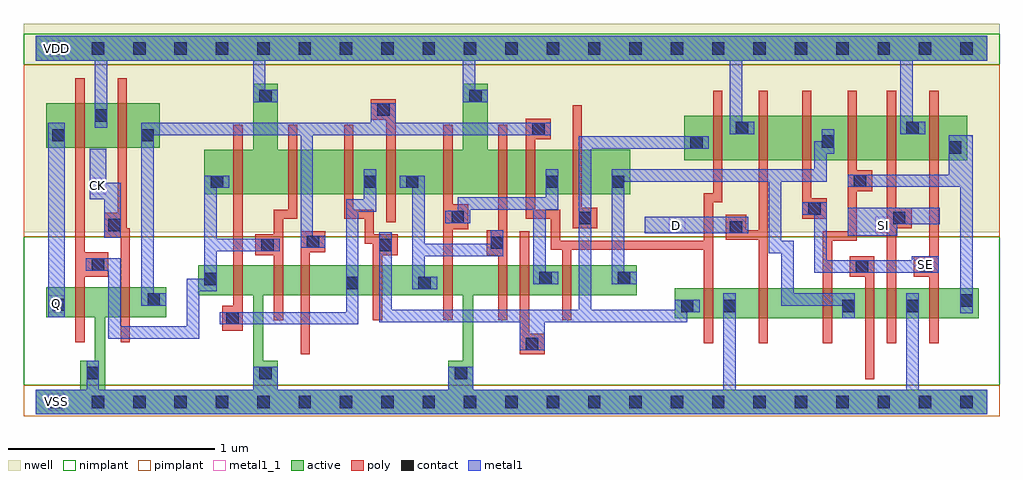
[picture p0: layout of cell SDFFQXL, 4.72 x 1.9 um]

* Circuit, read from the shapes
.subckt SDFFQXL CK D Q SE SI VDD VSS
M1 VSS n1 Q VSS nfet w=0.145u l=0.045u
M2 n2 CK VSS VSS nfet w=0.145u l=0.045u
M3 VSS n3 n1 VSS nfet w=0.145u l=0.045u
M4 n4 n1 VSS VSS nfet w=0.145u l=0.045u
M5 n3 n2 n4 VSS nfet w=0.145u l=0.045u
M6 n5 n6 n3 VSS nfet w=0.145u l=0.045u
M7 VSS n7 n5 VSS nfet w=0.145u l=0.045u
M8 n8 n5 VSS VSS nfet w=0.145u l=0.045u
M9 n7 n6 n8 VSS nfet w=0.145u l=0.045u
M10 n9 n2 n7 VSS nfet w=0.145u l=0.045u
M11 VSS n2 n6 VSS nfet w=0.145u l=0.045u
M12 n10 D VSS VSS nfet w=0.145u l=0.045u
M13 n9 n11 n10 VSS nfet w=0.145u l=0.045u
M14 n12 SE n9 VSS nfet w=0.145u l=0.045u
M15 VSS SI n12 VSS nfet w=0.145u l=0.045u
M16 n11 SE VSS VSS nfet w=0.145u l=0.045u
M17 VDD n1 Q VDD pfet w=0.215u l=0.045u
M18 n2 CK VDD VDD pfet w=0.215u l=0.045u
M19 VDD n3 n1 VDD pfet w=0.215u l=0.045u
M20 n13 n1 VDD VDD pfet w=0.215u l=0.045u
M21 n3 n6 n13 VDD pfet w=0.215u l=0.045u
M22 n5 n2 n3 VDD pfet w=0.215u l=0.045u
M23 VDD n7 n5 VDD pfet w=0.215u l=0.045u
M24 n14 n5 VDD VDD pfet w=0.215u l=0.045u
M25 n7 n2 n14 VDD pfet w=0.215u l=0.045u
M26 n9 n6 n7 VDD pfet w=0.215u l=0.045u
M27 VDD n2 n6 VDD pfet w=0.215u l=0.045u
M28 n15 D VDD VDD pfet w=0.215u l=0.045u
M29 n9 SE n15 VDD pfet w=0.215u l=0.045u
M30 n16 n11 n9 VDD pfet w=0.215u l=0.045u
M31 VDD SI n16 VDD pfet w=0.215u l=0.045u
M32 n11 SE VDD VDD pfet w=0.215u l=0.045u
.ends

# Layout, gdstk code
import gdstk
lib = gdstk.Library(unit=1e-6, precision=5e-10)
def R(c, l, rs):  # rectangles x0, y0, x1, y1
    for r in rs: c.add(gdstk.rectangle(r[:2], r[2:], *l))
def A(c, l, x, y, w, h, nx, ny, dx, dy):  # array of equal rectangles
    R(c, l, [(x+i*dx, y+j*dy, x+i*dx+w, y+j*dy+h) for i in range(nx) for j in range(ny)])
def P(c, l, *ps):  # polygons
    for p in ps: c.add(gdstk.Polygon(p, *l))
active = (1, 0)
nwell = (2, 0)
poly = (3, 0)
nimplant = (4, 0)
pimplant = (5, 0)
contact = (6, 0)
metal1 = (7, 0)
metal1_1 = (7, 1)

sdffqxl = lib.new_cell('SDFFQXL')
R(sdffqxl, active, [(3.09,0.405,4.56,0.55), (3.135,1.17,4.505,1.385), (0.05,1.23,0.6,1.445), (0,1.65,4.6,1.77)])
P(sdffqxl, active, [(1.05,1.54),(1.17,1.54),(1.17,1.22),(2.065,1.22),(2.065,1.54),(2.185,1.54),(2.185,1.22),(2.875,1.22),(2.875,1.005),(0.815,1.005),(0.815,1.22),(1.05,1.22)],
  [(0.05,0.555),(0.63,0.555),(0.63,0.41),(0.335,0.41),(0.335,0.06),(1.05,0.06),(1.05,0.515),(1.1,0.515),(1.1,0.2),(1.17,0.2),(1.17,0.06),(1.995,0.06),(1.995,0.2),(2.065,0.2),(2.065,0.515),(0.785,0.515),(0.785,0.66),(2.905,0.66),(2.905,0.515),(2.115,0.515),(2.115,0.06),(4.6,0.06),(4.6,-0.06),(0,-0.06),(0,0.06),(0.215,0.06),(0.215,0.2),(0.285,0.2),(0.285,0.41),(0.05,0.41)])
R(sdffqxl, nwell, [(-0.06,0.82,4.66,1.83)])
P(sdffqxl, poly, [(0.19,1.565),(0.235,1.565),(0.235,0.725),(0.35,0.725),(0.35,0.605),(0.235,0.605),(0.235,0.29),(0.19,0.29)],
  [(0.395,1.565),(0.44,1.565),(0.44,0.84),(0.455,0.84),(0.455,0.29),(0.41,0.29),(0.41,0.795),(0.33,0.795),(0.33,0.915),(0.395,0.915)],
  [(1.62,1.465),(1.74,1.465),(1.74,0.87),(1.695,0.87),(1.695,1.365),(1.62,1.365)],
  [(0.955,1.34),(1,1.34),(1,0.345),(0.9,0.345),(0.9,0.465),(0.955,0.465)],
  [(1.22,1.34),(1.265,1.34),(1.265,0.885),(1.195,0.885),(1.195,0.395),(1.15,0.395),(1.15,0.71),(1.06,0.71),(1.06,0.81),(1.15,0.81),(1.15,0.93),(1.22,0.93)],
  [(1.49,1.34),(1.535,1.34),(1.535,0.93),(1.635,0.93),(1.635,0.81),(1.75,0.81),(1.75,0.71),(1.675,0.71),(1.675,0.395),(1.63,0.395),(1.63,0.765),(1.59,0.765),(1.59,0.885),(1.49,0.885)],
  [(2.37,1.37),(2.49,1.37),(2.49,1.27),(2.415,1.27),(2.415,0.93),(2.535,0.93),(2.535,0.78),(3.23,0.78),(3.23,1.01),(3.275,1.01),(3.275,1.505),(3.32,1.505),(3.32,0.965),(3.275,0.965),(3.275,0.285),(3.23,0.285),(3.23,0.735),(2.59,0.735),(2.59,0.395),(2.545,0.395),(2.545,0.735),(2.49,0.735),(2.49,0.885),(2.37,0.885)],
  [(1.97,1.34),(2.015,1.34),(2.015,0.955),(2.09,0.955),(2.09,0.835),(2.015,0.835),(2.015,0.395),(1.97,0.395)],
  [(2.235,1.34),(2.28,1.34),(2.28,0.395),(2.235,0.395),(2.235,0.71),(2.18,0.71),(2.18,0.83),(2.235,0.83)],
  [(3.335,0.905),(3.435,0.905),(3.435,0.83),(3.495,0.83),(3.495,1.505),(3.54,1.505),(3.54,0.285),(3.495,0.285),(3.495,0.785),(3.335,0.785)],
  [(3.705,1.505),(3.75,1.505),(3.75,0.985),(3.825,0.985),(3.825,0.885),(3.705,0.885)],
  [(3.925,1.505),(3.97,1.505),(3.97,1.12),(4.045,1.12),(4.045,1.02),(3.97,1.02),(3.97,0.78),(3.85,0.78),(3.85,0.285),(3.805,0.285),(3.805,0.825),(3.925,0.825)],
  [(4.115,1.505),(4.16,1.505),(4.16,0.94),(4.235,0.94),(4.235,0.84),(4.16,0.84),(4.16,0.285),(4.115,0.285)],
  [(4.32,1.505),(4.365,1.505),(4.365,0.285),(4.32,0.285),(4.32,0.605),(4.245,0.605),(4.245,0.705),(4.32,0.705)],
  [(2.595,1.435),(2.64,1.435),(2.64,0.94),(2.715,0.94),(2.715,0.84),(2.595,0.84)],
  [(1.28,0.825),(1.4,0.825),(1.4,0.725),(1.325,0.725),(1.325,0.23),(1.28,0.23)],
  [(2.34,0.825),(2.385,0.825),(2.385,0.33),(2.46,0.33),(2.46,0.23),(2.34,0.23)],
  [(3.935,0.705),(4.055,0.705),(4.055,0.11),(4.01,0.11),(4.01,0.605),(3.935,0.605)])
R(sdffqxl, nimplant, [(-0.06,0.08,4.66,0.8), (-0.06,1.63,4.66,1.78)])
R(sdffqxl, pimplant, [(-0.06,-0.07,4.66,0.08), (-0.06,0.8,4.66,1.63)])
A(sdffqxl, contact, 0.07, -0.03, 0.06, 0.06, 23, 2, 0.2, 1.71)
R(sdffqxl, contact, [(0.245,0.11,0.305,0.17), (1.08,0.11,1.14,0.17), (2.025,0.11,2.085,0.17), (2.37,0.25,2.43,0.31), (0.92,0.375,0.98,0.435), (3.12,0.435,3.18,0.495), (3.325,0.435,3.385,0.495), (3.9,0.435,3.96,0.495), (4.21,0.435,4.27,0.495), (0.08,0.44,0.14,0.5), (4.47,0.46,4.53,0.52), (0.54,0.465,0.6,0.525), (1.5,0.545,1.56,0.605), (1.85,0.545,1.91,0.605), (0.815,0.565,0.875,0.625), (2.435,0.57,2.495,0.63), (2.815,0.57,2.875,0.63), (3.965,0.625,4.025,0.685), (4.275,0.625,4.335,0.685), (0.27,0.635,0.33,0.695), (1.09,0.73,1.15,0.79), (1.66,0.73,1.72,0.79), (2.2,0.74,2.26,0.8), (1.31,0.745,1.37,0.805), (3.355,0.815,3.415,0.875), (0.35,0.825,0.41,0.885), (2.625,0.86,2.685,0.92), (4.145,0.86,4.205,0.92), (2.01,0.865,2.07,0.925), (3.735,0.905,3.795,0.965), (0.845,1.035,0.905,1.095), (1.585,1.035,1.645,1.095), (1.79,1.035,1.85,1.095), (2.465,1.035,2.525,1.095), (2.785,1.035,2.845,1.095), (3.955,1.04,4.015,1.1), (4.415,1.2,4.475,1.26), (3.165,1.225,3.225,1.285), (3.8,1.23,3.86,1.29), (0.08,1.26,0.14,1.32), (0.51,1.26,0.57,1.32), (2.4,1.29,2.46,1.35), (3.385,1.295,3.445,1.355), (4.21,1.295,4.27,1.355), (0.285,1.355,0.345,1.415), (1.65,1.385,1.71,1.445), (1.08,1.45,1.14,1.51), (2.095,1.45,2.155,1.51)])
R(sdffqxl, metal1, [(0.06,0.41,0.14,1.35), (2.945,0.815,3.445,0.895)])
P(sdffqxl, metal1, [(0,1.77),(4.6,1.77),(4.6,1.65),(4.24,1.65),(4.24,1.355),(4.3,1.355),(4.3,1.295),(4.18,1.295),(4.18,1.65),(3.415,1.65),(3.415,1.355),(3.475,1.355),(3.475,1.295),(3.355,1.295),(3.355,1.65),(2.125,1.65),(2.125,1.51),(2.185,1.51),(2.185,1.45),(2.065,1.45),(2.065,1.65),(1.11,1.65),(1.11,1.51),(1.17,1.51),(1.17,1.45),(1.05,1.45),(1.05,1.65),(0.345,1.65),(0.345,1.325),(0.285,1.325),(0.285,1.65),(0,1.65)],
  [(1.62,1.445),(1.74,1.445),(1.74,1.35),(2.49,1.35),(2.49,1.29),(1.34,1.29),(1.34,0.805),(1.4,0.805),(1.4,0.745),(1.28,0.745),(1.28,1.29),(0.57,1.29),(0.57,0.525),(0.63,0.525),(0.63,0.465),(0.51,0.465),(0.51,1.35),(1.62,1.35)],
  [(2.625,1.285),(3.255,1.285),(3.255,1.225),(2.685,1.225),(2.685,0.445),(3.09,0.445),(3.09,0.495),(3.21,0.495),(3.21,0.435),(3.15,0.435),(3.15,0.385),(2.46,0.385),(2.46,0.25),(2.34,0.25),(2.34,0.385),(1.66,0.385),(1.66,0.82),(1.72,0.82),(1.72,0.445),(2.625,0.445)],
  [(3.8,1.32),(3.86,1.32),(3.86,1.2),(3.825,1.2),(3.825,1.065),(3.605,1.065),(3.605,0.78),(3.665,0.78),(3.665,0.525),(3.96,0.525),(3.96,0.405),(3.9,0.405),(3.9,0.465),(3.605,0.465),(3.605,0.72),(3.545,0.72),(3.545,1.065),(2.845,1.065),(2.845,0.63),(2.905,0.63),(2.905,0.57),(2.785,0.57),(2.785,1.125),(3.765,1.125),(3.765,1.26),(3.8,1.26)],
  [(4.415,1.29),(4.53,1.29),(4.53,0.43),(4.47,0.43),(4.47,1.04),(3.925,1.04),(3.925,1.1),(4.415,1.1)],
  [(0.26,1.225),(0.34,1.225),(0.34,1.06),(0.41,1.06),(0.41,0.795),(0.33,0.795),(0.33,0.98),(0.26,0.98)],
  [(0.815,1.095),(0.935,1.095),(0.935,1.035),(0.875,1.035),(0.875,0.79),(1.18,0.79),(1.18,0.73),(0.875,0.73),(0.875,0.535),(0.79,0.535),(0.79,0.305),(0.35,0.305),(0.35,0.635),(0.24,0.635),(0.24,0.695),(0.41,0.695),(0.41,0.365),(0.73,0.365),(0.73,0.595),(0.815,0.595)],
  [(1.585,1.125),(1.645,1.125),(1.645,0.92),(1.56,0.92),(1.56,0.375),(0.89,0.375),(0.89,0.435),(1.5,0.435),(1.5,0.98),(1.585,0.98)],
  [(2.465,1.125),(2.525,1.125),(2.525,0.93),(2.465,0.93),(2.465,0.63),(2.525,0.63),(2.525,0.57),(2.405,0.57),(2.405,0.93),(2.1,0.93),(2.1,0.865),(1.98,0.865),(1.98,0.925),(2.04,0.925),(2.04,0.99),(2.465,0.99)],
  [(1.76,1.095),(1.88,1.095),(1.88,0.765),(2.2,0.765),(2.2,0.83),(2.26,0.83),(2.26,0.705),(1.88,0.705),(1.88,0.605),(1.94,0.605),(1.94,0.545),(1.82,0.545),(1.82,1.035),(1.76,1.035)],
  [(3.705,0.965),(3.825,0.965),(3.825,0.685),(4.235,0.685),(4.235,0.705),(4.365,0.705),(4.365,0.625),(3.765,0.625),(3.765,0.905),(3.705,0.905)],
  [(3.925,0.94),(4.37,0.94),(4.37,0.86),(4.165,0.86),(4.165,0.805),(3.925,0.805)],
  [(0.245,0.2),(0.305,0.2),(0.305,0.06),(1.05,0.06),(1.05,0.17),(1.17,0.17),(1.17,0.06),(1.995,0.06),(1.995,0.17),(2.115,0.17),(2.115,0.06),(3.325,0.06),(3.325,0.525),(3.385,0.525),(3.385,0.06),(4.21,0.06),(4.21,0.525),(4.27,0.525),(4.27,0.06),(4.6,0.06),(4.6,-0.06),(0,-0.06),(0,0.06),(0.245,0.06)])
R(sdffqxl, metal1_1, [(0.06,-0.04,0.14,0.04), (0.06,0.435,0.14,0.515), (4.26,0.625,4.34,0.705), (3.06,0.815,3.14,0.895), (4.06,0.815,4.14,0.895), (0.26,1.005,0.34,1.085), (0.06,1.67,0.14,1.75)])
sdffqxl.add(gdstk.Label('Q', (0.1,0.475), layer=7, texttype=1))
sdffqxl.add(gdstk.Label('SE', (4.3,0.665), layer=7, texttype=1))
sdffqxl.add(gdstk.Label('SI', (4.1,0.855), layer=7, texttype=1))
sdffqxl.add(gdstk.Label('D', (3.1,0.855), layer=7, texttype=1))
sdffqxl.add(gdstk.Label('CK', (0.3,1.045), layer=7, texttype=1))
sdffqxl.add(gdstk.Label('VDD', (0.1,1.71), layer=7, texttype=1))
sdffqxl.add(gdstk.Label('VSS', (0.1,0), layer=7, texttype=1))
sdffqxl.add(gdstk.Label('SDFFQXL', (0,0), layer=63, texttype=0))

lib.write_gds('SDFFQXL.gds')
